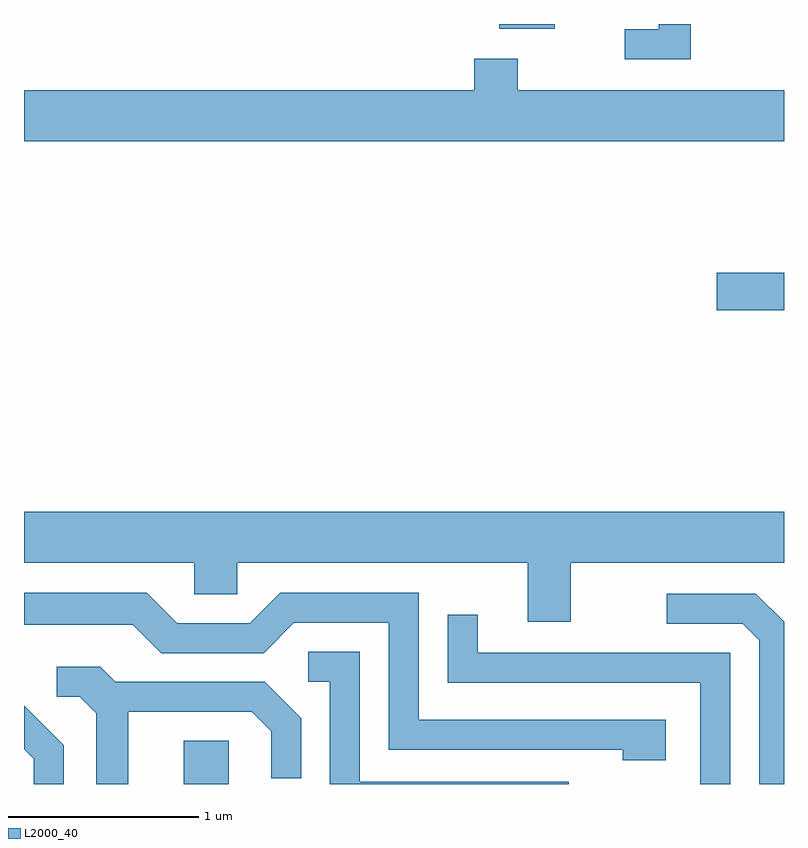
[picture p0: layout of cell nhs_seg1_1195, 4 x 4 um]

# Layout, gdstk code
import gdstk
lib = gdstk.Library(unit=1e-6, precision=1e-09)
def R(c, l, rs):  # rectangles x0, y0, x1, y1
    for r in rs: c.add(gdstk.rectangle(r[:2], r[2:], *l))
def P(c, l, *ps):  # polygons
    for p in ps: c.add(gdstk.Polygon(p, *l))
L2000_40 = (2000, 40)

nhs_seg1_1195 = lib.new_cell('nhs_seg1_1195')
R(nhs_seg1_1195, L2000_40, [(222.451,931.712,222.689,931.939), (225.256,934.206,225.611,934.404), (224.111,935.686,224.404,935.712)])
P(nhs_seg1_1195, L2000_40, [(225.119,935.712),(224.951,935.712),(224.951,935.684),(224.773,935.684),(224.773,935.526),(225.119,935.526)],
  [(225.611,935.364),(224.209,935.364),(224.209,935.529),(223.981,935.529),(223.981,935.364),(221.611,935.364),(221.611,935.096),(225.611,935.096)],
  [(224.489,932.876),(225.611,932.876),(225.611,933.144),(221.611,933.144),(221.611,932.876),(222.506,932.876),(222.506,932.711),(222.734,932.711),(222.734,932.876),(224.261,932.876),(224.261,932.566),(224.489,932.566)],
  [(224.989,932.049),(223.689,932.049),(223.689,932.719),(222.959,932.719),(222.799,932.559),(222.417,932.559),(222.257,932.719),(221.611,932.719),(221.611,932.551),(222.184,932.551),(222.334,932.401),(222.872,932.401),(223.032,932.561),(223.531,932.561),(223.531,931.891),(224.761,931.891),(224.761,931.836),(224.989,931.836)],
  [(225.611,932.565),(225.462,932.714),(224.993,932.714),(224.993,932.556),(225.394,932.556),(225.481,932.469),(225.481,931.712),(225.611,931.712)],
  [(225.329,932.404),(223.999,932.404),(223.999,932.603),(223.841,932.603),(223.841,932.246),(225.171,932.246),(225.171,931.712),(225.329,931.712)],
  [(224.478,931.724),(223.379,931.724),(223.379,932.409),(223.108,932.409),(223.108,932.251),(223.221,932.251),(223.221,931.712),(224.478,931.712)],
  [(222.159,932.091),(222.809,932.091),(222.911,931.989),(222.911,931.743),(223.069,931.743),(223.069,932.057),(222.877,932.249),(222.092,932.249),(222.012,932.329),(221.783,932.329),(221.783,932.171),(221.904,932.171),(221.991,932.084),(221.991,931.712),(222.159,931.712)],
  [(221.819,931.917),(221.611,932.125),(221.611,931.894),(221.661,931.844),(221.661,931.712),(221.819,931.712)])

lib.write_gds('nhs_seg1_1195.gds')
